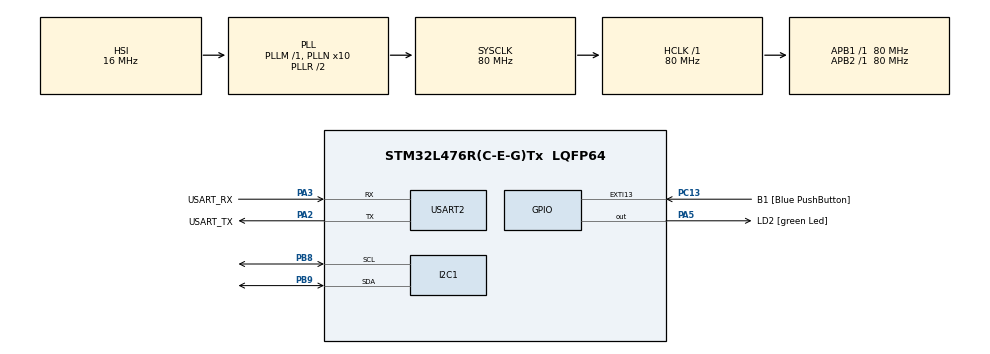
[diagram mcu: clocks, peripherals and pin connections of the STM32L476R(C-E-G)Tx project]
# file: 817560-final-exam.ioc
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I2C1.Timing=0x10909CEC
Mcu.Family=STM32L4
Mcu.Name=STM32L476R(C-E-G)Tx
Mcu.Package=LQFP64
NVIC.PriorityGroup=NVIC_PRIORITYGROUP_4
PA13\ (JTMS-SWDIO).GPIO_Label=TMS
PA13\ (JTMS-SWDIO).Mode=Serial_Wire
PA13\ (JTMS-SWDIO).Signal=SYS_JTMS-SWDIO
PA14\ (JTCK-SWCLK).GPIO_Label=TCK
PA14\ (JTCK-SWCLK).Mode=Serial_Wire
PA14\ (JTCK-SWCLK).Signal=SYS_JTCK-SWCLK
PA2.GPIO_Label=USART_TX
PA2.GPIO_Mode=GPIO_MODE_AF_PP
PA2.GPIO_PuPd=GPIO_NOPULL
PA2.GPIO_Speed=GPIO_SPEED_FREQ_VERY_HIGH
PA2.Mode=Asynchronous
PA2.Signal=USART2_TX
PA3.GPIO_Label=USART_RX
PA3.GPIO_Mode=GPIO_MODE_AF_PP
PA3.GPIO_PuPd=GPIO_NOPULL
PA3.GPIO_Speed=GPIO_SPEED_FREQ_VERY_HIGH
PA3.Mode=Asynchronous
PA3.Signal=USART2_RX
PA5.GPIO_Label=LD2 [green Led]
PA5.GPIO_ModeDefaultOutputPP=GPIO_MODE_OUTPUT_PP
PA5.GPIO_PuPd=GPIO_NOPULL
PA5.GPIO_Speed=GPIO_SPEED_FREQ_LOW
PA5.Signal=GPIO_Output
PB3\ (JTDO-TRACESWO).GPIO_Label=SWO
PB3\ (JTDO-TRACESWO).Signal=SYS_JTDO-SWO
PB8.Mode=I2C
PB8.Signal=I2C1_SCL
PB9.Mode=I2C
PB9.Signal=I2C1_SDA
PC13.GPIO_Label=B1 [Blue PushButton]
PC13.GPIO_ModeDefaultEXTI=GPIO_MODE_IT_FALLING
PC13.GPIO_PuPd=GPIO_NOPULL
PC13.Signal=GPXTI13
PC14-OSC32_IN\ (PC14).Mode=LSE-External-Oscillator
PC14-OSC32_IN\ (PC14).Signal=RCC_OSC32_IN
PC15-OSC32_OUT\ (PC15).Mode=LSE-External-Oscillator
PC15-OSC32_OUT\ (PC15).Signal=RCC_OSC32_OUT
PH0-OSC_IN\ (PH0).Signal=RCC_OSC_IN
PH1-OSC_OUT\ (PH1).Signal=RCC_OSC_OUT
ProjectManager.HeapSize=0x200
ProjectManager.StackSize=0x400
ProjectManager.TargetToolchain=STM32CubeIDE
RCC.ADCFreq_Value=64000000
RCC.AHBFreq_Value=80000000
RCC.APB1Freq_Value=80000000
RCC.APB1TimFreq_Value=80000000
RCC.APB2Freq_Value=80000000
RCC.APB2TimFreq_Value=80000000
RCC.CortexFreq_Value=80000000
RCC.HCLKFreq_Value=80000000
RCC.HSE_VALUE=8000000
RCC.HSI_VALUE=16000000
RCC.MSI_VALUE=4000000
RCC.PLLN=10
RCC.PLLSourceVirtual=RCC_PLLSOURCE_HSI
RCC.PREFETCH_ENABLE=1
RCC.SYSCLKFreq_VALUE=80000000
RCC.SYSCLKSource=RCC_SYSCLKSOURCE_PLLCLK
RCC.USBFreq_Value=64000000
RCC.VCOOutputFreq_Value=160000000
USART2.VirtualMode-Asynchronous=VM_ASYNC
board=NUCLEO-L476RG

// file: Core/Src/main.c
/* USER CODE BEGIN Header */
/**
  ******************************************************************************
  * @file           : main.c
  * @brief          : Main program body
  ******************************************************************************
  * @attention
  *
  * Copyright (c) 2023 STMicroelectronics.
  * All rights reserved.
  *
  * This software is licensed under terms that can be found in the LICENSE file
  * in the root directory of this software component.
  * If no LICENSE file comes with this software, it is provided AS-IS.
  *
  ******************************************************************************
  */
/* USER CODE END Header */
#include "main.h"

/* USER CODE BEGIN Includes */

#include <stdio.h>
#include <string.h>
#include "ring_buffer.h"
#include "ssd1306_conf.h"
#include "ssd1306.h"
#include "ssd1306_fonts.h"

/* USER CODE END Includes */

I2C_HandleTypeDef hi2c1;

UART_HandleTypeDef huart2;

/* USER CODE BEGIN PV */
ring_buffer_t ring_buffer_uart_rx;
uint8_t rx_buffer[16];
uint8_t rx_data;
uint8_t cont = 0;
/* USER CODE END PV */

void SystemClock_Config(void);
static void MX_GPIO_Init(void);
static void MX_USART2_UART_Init(void);
static void MX_I2C1_Init(void);

/* USER CODE BEGIN 0 */

int _write(int file, char *ptr, int len)
{
  HAL_UART_Transmit(&huart2, (uint8_t *)ptr, len, HAL_MAX_DELAY);
  return len;
}
/**
  * @brief  Rx Transfer completed callback.
  * @param  huart UART handle.
  * @retval None
  */
void HAL_UART_RxCpltCallback(UART_HandleTypeDef *huart)
{
	printf("codigo: %s\r\n",rx_data); //se guarda la variable con la contraseña digitada
	HAL_UART_Receive_IT(&huart2, &rx_data, 2);
}
/* USER CODE END 0 */

int main(void)
{

  /* MCU Configuration--------------------------------------------------------*/

  /* Reset of all peripherals, Initializes the Flash interface and the Systick. */
  HAL_Init();

  /* Configure the system clock */
  SystemClock_Config();

  /* Initialize all configured peripherals */
  MX_GPIO_Init();
  MX_USART2_UART_Init();
  MX_I2C1_Init();

  // Inicializar la pantalla SSD
  ssd1306_Init();

  // Poner toda la pantalla en negro
  ssd1306_Fill(Black);

  // establecer el cursor en las coordenas (20,20) || La pantalla es de (100x100)
  ssd1306_SetCursor(20, 20);

  /* USER CODE BEGIN 2 */
  ring_buffer_init(&ring_buffer_uart_rx, rx_buffer, 16);

//se inicializa la pantalla
  ssd1306_Init();
  ssd1306_Fill(Black);
  ssd1306_SetCursor(20, 20);
  ssd1306_WriteString("waiting", Font_7x10, White);
  ssd1306_UpdateScreen();

  HAL_UART_Receive_IT(&huart2, rx_data, 2);

  /* USER CODE END 2 */

  /* Infinite loop */
  /* USER CODE BEGIN WHILE */
  while (1)
  {
	  uint32_t contraseña = 817560; //contraseña guardada

	  //primera comparacion con la contraseña
	  if (rx_data == contraseña) {
		  ssd1306_Fill(Black);
		  ssd1306_SetCursor(20, 20);
		  ssd1306_WriteString("success", Font_7x10, White);
		  ssd1306_UpdateScreen();
		  cont = 0;
	  }else {
		  cont = cont+1;
		  ssd1306_Fill(Black);
		  ssd1306_SetCursor(20, 20);
		  ssd1306_WriteString("fail", Font_7x10, White);
		  ssd1306_UpdateScreen();
		  if (cont==3){
			  cont = 0;
			  ssd1306_Fill(Black);
			  ssd1306_SetCursor(20, 20);
			  ssd1306_WriteString("blocked", Font_7x10, White);
			  ssd1306_UpdateScreen();
			  HAL_Delay(30000);
		  }
	  }
	  HAL_Delay(1000); // to wait one second
    /* USER CODE END WHILE */

  }
}

void SystemClock_Config(void)
{
  RCC_OscInitTypeDef RCC_OscInitStruct = {0};
  RCC_ClkInitTypeDef RCC_ClkInitStruct = {0};

  /** Configure the main internal regulator output voltage
  */
  if (HAL_PWREx_ControlVoltageScaling(PWR_REGULATOR_VOLTAGE_SCALE1) != HAL_OK)
  {
    Error_Handler();
  }

  /** Initializes the RCC Oscillators according to the specified parameters
  * in the RCC_OscInitTypeDef structure.
  */
  RCC_OscInitStruct.OscillatorType = RCC_OSCILLATORTYPE_HSI;
  RCC_OscInitStruct.HSIState = RCC_HSI_ON;
  RCC_OscInitStruct.HSICalibrationValue = RCC_HSICALIBRATION_DEFAULT;
  RCC_OscInitStruct.PLL.PLLState = RCC_PLL_ON;
  RCC_OscInitStruct.PLL.PLLSource = RCC_PLLSOURCE_HSI;
  RCC_OscInitStruct.PLL.PLLM = 1;
  RCC_OscInitStruct.PLL.PLLN = 10;
  RCC_OscInitStruct.PLL.PLLP = RCC_PLLP_DIV7;
  RCC_OscInitStruct.PLL.PLLQ = RCC_PLLQ_DIV2;
  RCC_OscInitStruct.PLL.PLLR = RCC_PLLR_DIV2;
  if (HAL_RCC_OscConfig(&RCC_OscInitStruct) != HAL_OK)
  {
    Error_Handler();
  }

  /** Initializes the CPU, AHB and APB buses clocks
  */
  RCC_ClkInitStruct.ClockType = RCC_CLOCKTYPE_HCLK|RCC_CLOCKTYPE_SYSCLK
                              |RCC_CLOCKTYPE_PCLK1|RCC_CLOCKTYPE_PCLK2;
  RCC_ClkInitStruct.SYSCLKSource = RCC_SYSCLKSOURCE_PLLCLK;
  RCC_ClkInitStruct.AHBCLKDivider = RCC_SYSCLK_DIV1;
  RCC_ClkInitStruct.APB1CLKDivider = RCC_HCLK_DIV1;
  RCC_ClkInitStruct.APB2CLKDivider = RCC_HCLK_DIV1;

  if (HAL_RCC_ClockConfig(&RCC_ClkInitStruct, FLASH_LATENCY_4) != HAL_OK)
  {
    Error_Handler();
  }
}

static void MX_I2C1_Init(void)
{

  hi2c1.Instance = I2C1;
  hi2c1.Init.Timing = 0x10909CEC;
  hi2c1.Init.OwnAddress1 = 0;
  hi2c1.Init.AddressingMode = I2C_ADDRESSINGMODE_7BIT;
  hi2c1.Init.DualAddressMode = I2C_DUALADDRESS_DISABLE;
  hi2c1.Init.OwnAddress2 = 0;
  hi2c1.Init.OwnAddress2Masks = I2C_OA2_NOMASK;
  hi2c1.Init.GeneralCallMode = I2C_GENERALCALL_DISABLE;
  hi2c1.Init.NoStretchMode = I2C_NOSTRETCH_DISABLE;
  if (HAL_I2C_Init(&hi2c1) != HAL_OK)
  {
    Error_Handler();
  }

  /** Configure Analogue filter
  */
  if (HAL_I2CEx_ConfigAnalogFilter(&hi2c1, I2C_ANALOGFILTER_ENABLE) != HAL_OK)
  {
    Error_Handler();
  }

  /** Configure Digital filter
  */
  if (HAL_I2CEx_ConfigDigitalFilter(&hi2c1, 0) != HAL_OK)
  {
    Error_Handler();
  }

}

static void MX_USART2_UART_Init(void)
{

  huart2.Instance = USART2;
  huart2.Init.BaudRate = 115200;
  huart2.Init.WordLength = UART_WORDLENGTH_8B;
  huart2.Init.StopBits = UART_STOPBITS_1;
  huart2.Init.Parity = UART_PARITY_NONE;
  huart2.Init.Mode = UART_MODE_TX_RX;
  huart2.Init.HwFlowCtl = UART_HWCONTROL_NONE;
  huart2.Init.OverSampling = UART_OVERSAMPLING_16;
  huart2.Init.OneBitSampling = UART_ONE_BIT_SAMPLE_DISABLE;
  huart2.AdvancedInit.AdvFeatureInit = UART_ADVFEATURE_NO_INIT;
  if (HAL_UART_Init(&huart2) != HAL_OK)
  {
    Error_Handler();
  }

}

static void MX_GPIO_Init(void)
{
  GPIO_InitTypeDef GPIO_InitStruct = {0};

  /* GPIO Ports Clock Enable */
  __HAL_RCC_GPIOC_CLK_ENABLE();
  __HAL_RCC_GPIOH_CLK_ENABLE();
  __HAL_RCC_GPIOA_CLK_ENABLE();
  __HAL_RCC_GPIOB_CLK_ENABLE();

  /*Configure GPIO pin Output Level */
  HAL_GPIO_WritePin(LD2_GPIO_Port, LD2_Pin, GPIO_PIN_RESET);

  /*Configure GPIO pin : B1_Pin */
  GPIO_InitStruct.Pin = B1_Pin;
  GPIO_InitStruct.Mode = GPIO_MODE_IT_FALLING;
  GPIO_InitStruct.Pull = GPIO_NOPULL;
  HAL_GPIO_Init(B1_GPIO_Port, &GPIO_InitStruct);

  /*Configure GPIO pin : LD2_Pin */
  GPIO_InitStruct.Pin = LD2_Pin;
  GPIO_InitStruct.Mode = GPIO_MODE_OUTPUT_PP;
  GPIO_InitStruct.Pull = GPIO_NOPULL;
  GPIO_InitStruct.Speed = GPIO_SPEED_FREQ_LOW;
  HAL_GPIO_Init(LD2_GPIO_Port, &GPIO_InitStruct);

}

void Error_Handler(void)
{
  __disable_irq();
  while (1)
  {
  }
}
